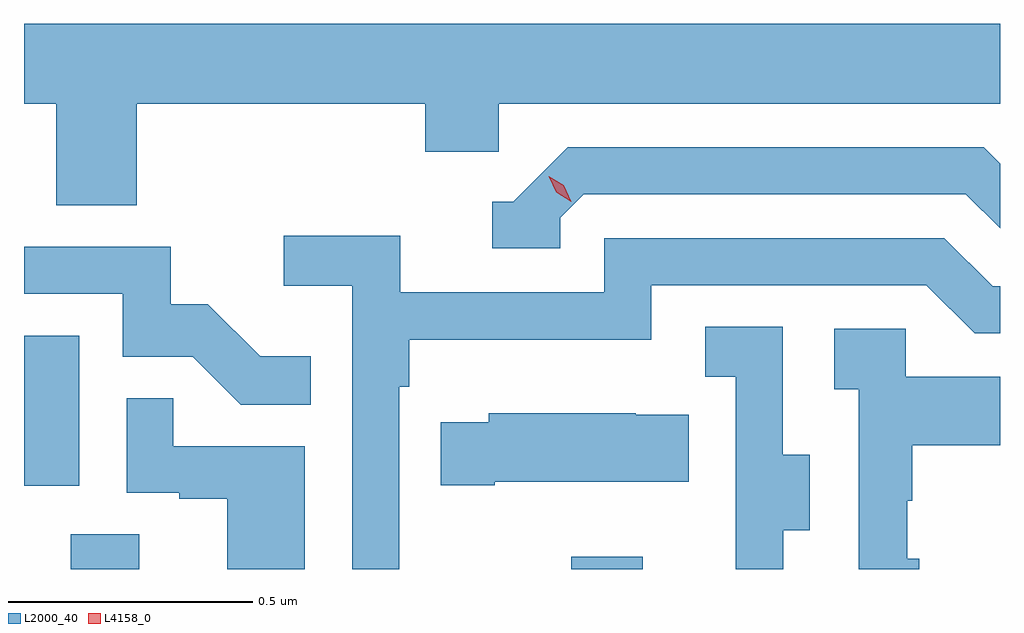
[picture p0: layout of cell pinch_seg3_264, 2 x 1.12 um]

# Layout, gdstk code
import gdstk
lib = gdstk.Library(unit=1e-6, precision=1e-09)
def R(c, l, rs):  # rectangles x0, y0, x1, y1
    for r in rs: c.add(gdstk.rectangle(r[:2], r[2:], *l))
def P(c, l, *ps):  # polygons
    for p in ps: c.add(gdstk.Polygon(p, *l))
L2000_40 = (2000, 40)
L4158_0 = (4158, 0)

pinch_seg3_264 = lib.new_cell('pinch_seg3_264')
R(pinch_seg3_264, L2000_40, [(933.365,721.275,933.505,721.346), (934.39,721.275,934.537,721.3), (933.269,721.446,933.382,721.753)])
P(pinch_seg3_264, L2000_40, [(933.5,722.228),(934.091,722.228),(934.091,722.13),(934.242,722.13),(934.242,722.228),(935.269,722.228),(935.269,722.392),(933.269,722.392),(933.269,722.228),(933.335,722.228),(933.335,722.02),(933.5,722.02)],
  [(934.368,721.995),(934.416,722.043),(935.199,722.043),(935.269,721.973),(935.269,722.106),(935.236,722.139),(934.383,722.139),(934.272,722.028),(934.229,722.028),(934.229,721.932),(934.368,721.932)],
  [(934.038,721.649),(934.058,721.649),(934.058,721.745),(934.554,721.745),(934.554,721.857),(935.118,721.857),(935.217,721.758),(935.269,721.758),(935.269,721.854),(935.254,721.854),(935.155,721.953),(934.458,721.953),(934.458,721.842),(934.04,721.842),(934.04,721.958),(933.801,721.958),(933.801,721.856),(933.942,721.856),(933.942,721.275),(934.038,721.275)],
  [(933.857,721.711),(933.753,721.711),(933.646,721.818),(933.57,721.818),(933.57,721.935),(933.269,721.935),(933.269,721.839),(933.471,721.839),(933.471,721.71),(933.615,721.71),(933.713,721.612),(933.857,721.612)],
  [(934.825,721.354),(934.879,721.354),(934.879,721.509),(934.824,721.509),(934.824,721.772),(934.665,721.772),(934.665,721.669),(934.728,721.669),(934.728,721.365),(934.727,721.365),(934.727,721.275),(934.825,721.275)],
  [(935.104,721.296),(935.079,721.296),(935.079,721.415),(935.089,721.415),(935.089,721.529),(935.269,721.529),(935.269,721.669),(935.076,721.669),(935.076,721.767),(934.929,721.767),(934.929,721.643),(934.98,721.643),(934.98,721.275),(935.104,721.275)],
  [(933.844,721.527),(933.575,721.527),(933.575,721.625),(933.48,721.625),(933.48,721.431),(933.587,721.431),(933.587,721.419),(933.686,721.419),(933.686,721.275),(933.844,721.275)],
  [(934.234,721.454),(934.631,721.454),(934.631,721.591),(934.523,721.591),(934.523,721.594),(934.221,721.594),(934.221,721.576),(934.123,721.576),(934.123,721.447),(934.234,721.447)])
P(pinch_seg3_264, L4158_0, [(934.39,722.028),(934.36,722.047),(934.344,722.08),(934.344,722.08),(934.344,722.08),(934.375,722.061),(934.39,722.028),(934.39,722.028)])

lib.write_gds('pinch_seg3_264.gds')
